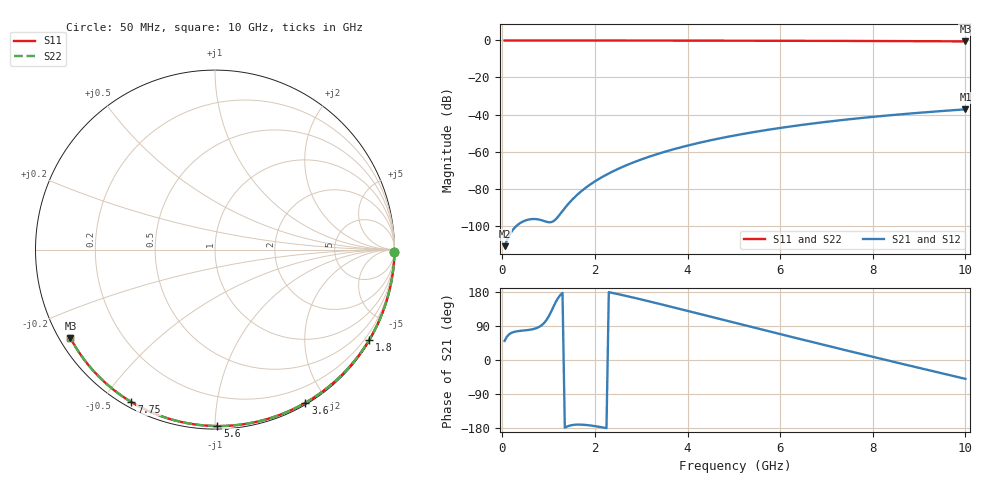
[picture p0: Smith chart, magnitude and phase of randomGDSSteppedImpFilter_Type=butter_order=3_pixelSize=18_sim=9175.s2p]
! freq	dB(S11)	phase(S11)	dB(S12)	phase(S12)
!  dB(S21)	phase(S21)	dB(S22)	phase(S22)
!S-par simulation data
#  GHz  S  DB  R 50
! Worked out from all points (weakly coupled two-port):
!   200 points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, 50 MHz to 10 GHz, reference 50 ohm
!   highest |S21| = -37.20 dB at 10 GHz (marker M1); lowest = -111.1 dB at 50 MHz (marker M2)
!   lowest |S11| = -0.5 dB at 10 GHz (marker M3), VSWR 34.84, Z = 1.55 - j14.1 ohm
!   |S11| at or under -10 dB: nowhere
!   |S22| runs from -0.5 to 0.0 dB; largest |S21 - S12| = 0
!   S11 on the Smith chart (normalised r, x): 50 MHz: open; 1.8 GHz: 0.03, -3.67; 3.6 GHz: 0.02, -1.75; 5.6 GHz: 0.02, -1.01; 7.75 GHz: 0.02, -0.59; 10 GHz: 0.03, -0.28
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0.05  -0.00 -0.9  -111.08 50.6  -111.08 50.6  -0.00 -0.9
0.45  -0.01 -7.7  -97.72 77.7  -97.72 77.7  -0.01 -7.7
0.9  -0.02 -15.4  -97.46 97.3  -97.46 97.3  -0.02 -15.4
1.3  -0.03 -22.1  -92.08 177.1  -92.08 177.1  -0.03 -22.1
1.75  -0.04 -29.7  -80.52 -170.9  -80.52 -170.9  -0.04 -29.7
1.8  -0.04 -30.5  -79.55 -171.3  -79.55 -171.3  -0.04 -30.5
1.95  -0.04 -33.0  -76.90 -173.5  -76.90 -173.5  -0.04 -33.0
2.1  -0.05 -35.4  -74.57 -176.4  -74.57 -176.4  -0.05 -35.4
2.3  -0.05 -38.7  -71.80 179.0  -71.80 179.0  -0.05 -38.7
2.5  -0.05 -42.0  -69.36 173.9  -69.36 173.9  -0.05 -42.0
2.9  -0.06 -48.4  -65.19 162.7  -65.19 162.7  -0.06 -48.4
3.4  -0.07 -56.3  -60.92 147.9  -60.92 147.9  -0.07 -56.3
3.6  -0.08 -59.4  -59.44 141.8  -59.44 141.8  -0.08 -59.4
4.3  -0.10 -70.2  -54.99 120.4  -54.99 120.4  -0.10 -70.2
5.05  -0.13 -81.3  -51.15 97.4  -51.15 97.4  -0.13 -81.3
5.6  -0.15 -89.2  -48.78 80.5  -48.78 80.5  -0.15 -89.2
6.15  -0.17 -97.0  -46.70 63.8  -46.70 63.8  -0.17 -97.0
6.7  -0.20 -104.6  -44.85 47.2  -44.85 47.2  -0.20 -104.6
7.75  -0.27 -118.8  -41.88 15.8  -41.88 15.8  -0.27 -118.8
8.35  -0.32 -126.7  -40.44 -1.9  -40.44 -1.9  -0.32 -126.7
9.2  -0.41 -137.9  -38.66 -26.6  -38.66 -26.6  -0.41 -137.9
10  -0.50 -148.6  -37.20 -49.7  -37.20 -49.7  -0.50 -148.5
